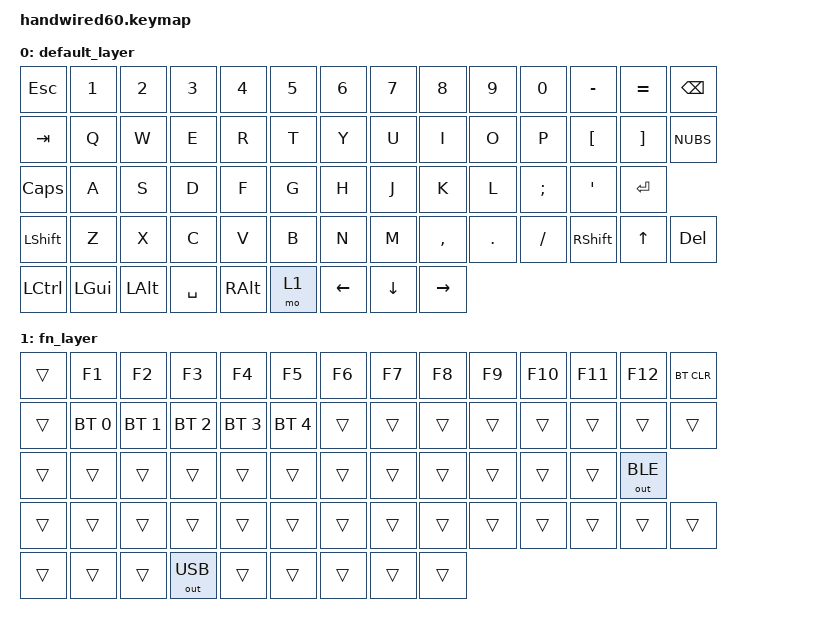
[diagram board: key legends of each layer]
#include <behaviors.dtsi>
#include <dt-bindings/zmk/bt.h>
#include <dt-bindings/zmk/keys.h>
#include <dt-bindings/zmk/outputs.h>

/ {
    keymap {
        compatible = "zmk,keymap";

        default_layer {
            bindings = <
&kp ESC    &kp N1    &kp N2    &kp N3     &kp N4    &kp N5  &kp N6    &kp N7    &kp N8     &kp N9   &kp N0    &kp MINUS  &kp EQUAL  &kp BSPC
&kp TAB    &kp Q     &kp W     &kp E      &kp R     &kp T   &kp Y     &kp U     &kp I      &kp O    &kp P     &kp LBKT   &kp RBKT   &kp NUBS
&kp CAPS   &kp A     &kp S     &kp D      &kp F     &kp G   &kp H     &kp J     &kp K      &kp L    &kp SEMI  &kp APOS   &kp RET
&kp LSHFT  &kp Z     &kp X     &kp C      &kp V     &kp B   &kp N     &kp M     &kp COMMA  &kp DOT  &kp FSLH  &kp RSHFT  &kp UP     &kp DEL
&kp LCTRL  &kp LGUI  &kp LALT  &kp SPACE  &kp RALT  &mo 1   &kp LEFT  &kp DOWN  &kp RIGHT
            >;
        };

        fn_layer {
            bindings = <
&trans  &kp F1        &kp F2        &kp F3        &kp F4        &kp F5        &kp F6  &kp F7  &kp F8  &kp F9  &kp F10  &kp F11  &kp F12       &bt BT_CLR
&trans  &bt BT_SEL 0  &bt BT_SEL 1  &bt BT_SEL 2  &bt BT_SEL 3  &bt BT_SEL 4  &trans  &trans  &trans  &trans  &trans   &trans   &trans        &trans
&trans  &trans        &trans        &trans        &trans        &trans        &trans  &trans  &trans  &trans  &trans   &trans   &out OUT_BLE
&trans  &trans        &trans        &trans        &trans        &trans        &trans  &trans  &trans  &trans  &trans   &trans   &trans        &trans
&trans  &trans        &trans        &out OUT_USB  &trans        &trans        &trans  &trans  &trans
            >;
        };
    };
};
